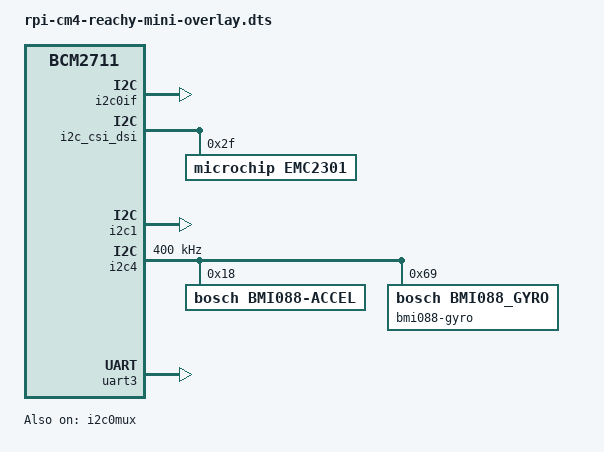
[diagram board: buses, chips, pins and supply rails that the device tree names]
/*
* Copyright (C) 2021 Seeed Studio
* ruiqian <ruiqian.tang@seeed.cc>
*
* MIT License
*
*/
/dts-v1/;
/plugin/;

#include "dt-bindings/gpio/gpio.h"

/ {
	compatible = "brcm,bcm2835", "brcm,bcm2708", "brcm,bcm2709", "brcm,bcm2711";
	
	fragment@0 {
		target-path="/";
		__overlay__ {
			hardware = "Reachy Mini";
		};
	};
	
	fragment@1 {
		target = <&i2c0if>;
		i2cbus: __overlay__ {
			status = "okay";
		};
	};
	
	fragment@2 {
		target = <&i2c0mux>;
		__overlay__ {
			status = "okay";
		};
	};

	fragment@3 {
		target = <&i2c_csi_dsi>; // The TP and CSI shared with the same I2C0 bus.
		__overlay__ {
			#address-cells = <1>;
			#size-cells = <0>;
			status = "okay";

			emc2301: emc2301@2f {
				compatible = "microchip,emc2301";
				reg = <0x2f>;
				#cooling-cells = <2>;
			};
		};
	};

	fragment@4 {
		target = <&i2c1>;
		__overlay__ {
			status = "okay";
		};
	};
	
	fragment@5 {
		target = <&i2c4>;
		__overlay__ {
			status = "okay";
			clock-frequency = <400000>;
			#address-cells = <1>;
			#size-cells = <0>;
			
			bmi088-accel@18 {
				compatible = "bosch,bmi088-accel";
				reg = <0x18>;
			};
			
			bmi088-gyro@69 {
				compatible = "bosch,bmi088_gyro";
				reg = <0x69>;
			};
		};
	};
	
	fragment@6 {
		target = <&uart3>;
		__overlay__ {
			status = "okay";
		};
	};
	
	fragment@7 {
		target = <&cpu_thermal>;
		__overlay__ {
			polling-delay = <2000>; /* milliseconds */
		};
	};
	
	fragment@8 {
		target = <&thermal_trips>;
		__overlay__ {
			fanmid0: fanmid0 {
				temperature = <50000>;
				hysteresis = <2000>;
				type = "active";
			};
			fanmax0: fanmax0 {
				temperature = <75000>;
				hysteresis = <2000>;
				type = "active";
			};
		};
	};
	
	fragment@9 {
		target = <&cooling_maps>;
		__overlay__ {
			map0: map0 {
				trip = <&fanmid0>;
				cooling-device = <&emc2301 2 6>;
			};
			map1: map1 {
				trip = <&fanmax0>;
				cooling-device = <&emc2301 7 (~0)>;
			};
		};
	};
	
	// fragment@10 {
	// 	target = <&gpio>;
	// 	__overlay__ {
	// 		gpio7_audio_rst: gpio7_audio_rst {
	// 			gpio-hog;
	// 			gpios = <7 0>;          /* BCM GPIO7, active high */
	// 			output-low;
	// 			line-name = "audio-rst-low";
	// 		};
	// 	};
	// };
};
